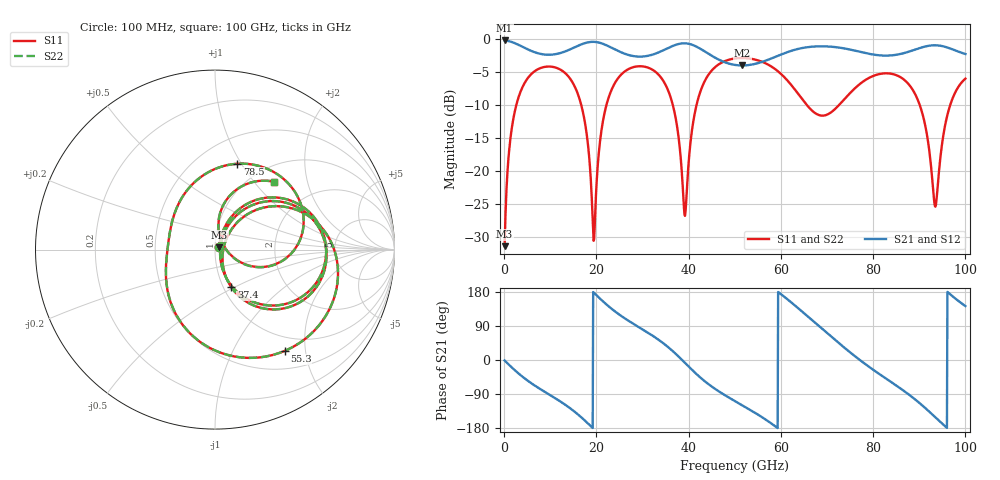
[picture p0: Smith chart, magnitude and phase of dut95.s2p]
! Touchstone file exported from HFSS 2026.1.0
!  File:  C:/ffzhzh/LocalFiles/Ansys_Project_Files/temp_train_TSV_RDL_95_1783632066_33328.aedt
!  Generated:  05:32:10 AM Jul 10, 2026
!  Design:  TSV_RDL
!  Project:  temp_train_TSV_RDL_95_1783632066_33328
! Variables:
!  h_bsmrdl = 2.54um
!  h_ox = 20um
!  h_rdl = 5um
!  h_sub = 64.01um
!  h_tmrdl = 3.62um
!  h_tsv = 64.01um
!  h_via = 3um
!  l_bsmrdl = 534.81um
!  l_sub = 3245.35um
!  l_tmrdl = 282.15um
!  m_sub = 200um
!  pitch = 48.64um
!  r_tsv = 5.15um
!  s_tmrdl = 10um
!  w_bsmrdl = 13.88um
!  w_sub = 500um
!  w_tmrdl = 23.56um
!  x_tsv_center1 = 293.93um
!  x_tsv_center2 = 842.62um
!  x_tsv_center3 = 1148.33um
!  x_tsv_center4 = 1697.02um
!  x_tsv_center5 = 2002.73um
!  x_tsv_center6 = 2551.42um
# GHz S MA R 50.000000
! Terminal data exported
! Port[1] = TM_RDL1_1_T1
! Port[2] = TM_RDL5_1_T1
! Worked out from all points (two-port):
!   1000 points, 100 MHz to 100 GHz, reference 50 ohm
!   highest |S21| = -0.20 dB at 100 MHz (marker M1); lowest = -4.0 dB at 51.6 GHz (marker M2)
!   |S21| within 3 dB of the highest: start of sweep to 46.81 GHz; 56.95 GHz to end of sweep
!   lowest |S11| = -31.4 dB at 100 MHz (marker M3), VSWR 1.06, Z = 52.4 + j1.4 ohm
!   |S11| at or under -10 dB: 16.72 GHz to 22.18 GHz (5.459 GHz wide, 28.1 % of centre); 65.62 GHz to 72.6 GHz (6.976 GHz wide, 10.1 % of centre); 90.1 GHz to 96.71 GHz (6.601 GHz wide, 7.07 % of centre) (the widest 3 of 5)
!   |S22| runs from -31.4 to -2.9 dB; largest |S21 - S12| = 2.2e-13
!   S11 on the Smith chart (normalised r, x): 100 MHz: 1.05, +0.03; 37.4 GHz: 1.09, -0.48; 55.3 GHz: 0.77, -1.63; 78.5 GHz: 0.76, +0.96; 100 GHz: 1.26, +1.28
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0.1  0.02691 29.8  0.9769 -1.3  0.9769 -1.3  0.02691 29.8
! Gamma 0 0 0 0
! Port Impedance 50 0 50 0
1.7  0.2161 62.7  0.9496 -20.1  0.9496 -20.1  0.2161 62.7
4.8  0.4875 35.1  0.8464 -51.8  0.8464 -51.8  0.4875 35.1
10.6  0.6153 -8.5  0.7641 -97.4  0.7641 -97.4  0.6153 -8.5
16.8  0.308 -58.8  0.9142 -152.0  0.9142 -152.0  0.308 -58.9
19.4  0.02956 -12.1  0.9534 178.2  0.9534 178.2  0.02934 -12.2
23.4  0.4214 39.9  0.8567 134.2  0.8567 134.2  0.4214 39.9
33.4  0.5411 -34.6  0.7908 54.1  0.7908 54.1  0.541 -34.7
37.4  0.2282 -66.5  0.9098 14.0  0.9098 14.0  0.2281 -66.7
39.2  0.04567 -6.4  0.9293 -7.5  0.9293 -7.5  0.04506 -6.4
42.6  0.4056 36.6  0.8425 -47.0  0.8425 -47.0  0.4055 36.6
50.1  0.7138 -20.0  0.6368 -108.8  0.6368 -108.8  0.7138 -19.9
51.6  0.7192 -29.9  0.6312 -119.3  0.6312 -119.3  0.7192 -29.9
55.3  0.6851 -55.5  0.6613 -146.2  0.6613 -146.2  0.6851 -55.4
61.5  0.4819 -107.7  0.7986 159.4  0.7986 159.4  0.4819 -107.5
66.7  0.2881 -161.4  0.8757 105.7  0.8757 105.7  0.2882 -161.1
73.2  0.3331 125.9  0.8564 38.1  0.8564 38.1  0.3331 126.0
78.5  0.4942 75.5  0.7816 -12.6  0.7816 -12.6  0.4942 75.4
83.4  0.5492 35.9  0.7506 -54.0  0.7506 -54.0  0.5493 35.8
89.9  0.3309 -15.3  0.851 -112.0  0.851 -112.0  0.3308 -15.6
93.5  0.05363 31.0  0.898 -151.4  0.898 -151.4  0.05226 30.8
100  0.5015 48.9  0.771 142.3  0.771 142.3  0.5014 48.8
